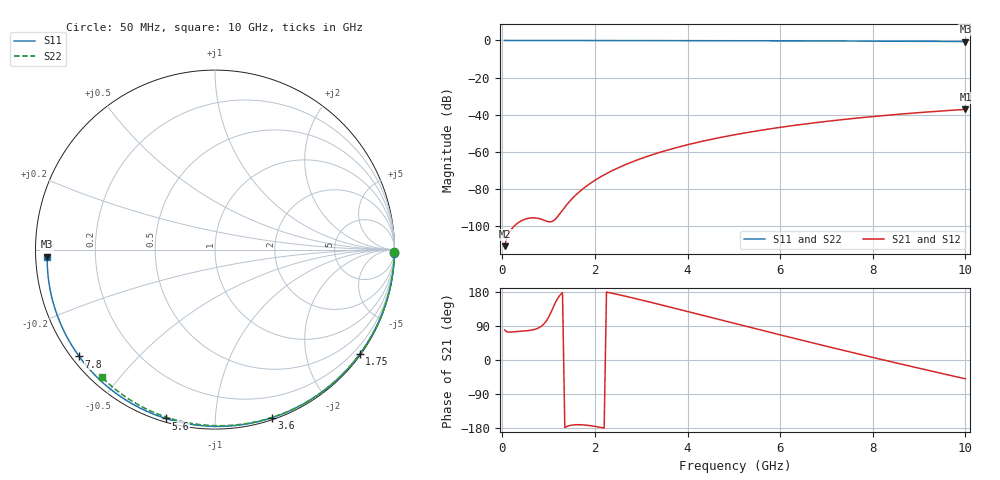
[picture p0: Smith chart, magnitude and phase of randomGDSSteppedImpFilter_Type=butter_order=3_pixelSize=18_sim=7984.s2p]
! freq	dB(S11)	phase(S11)	dB(S12)	phase(S12)
!  dB(S21)	phase(S21)	dB(S22)	phase(S22)
!S-par simulation data
#  GHz  S  DB  R 50
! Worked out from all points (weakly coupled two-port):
!   200 points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, 50 MHz to 10 GHz, reference 50 ohm
!   highest |S21| = -37.18 dB at 10 GHz (marker M1); lowest = -111.0 dB at 50 MHz (marker M2)
!   lowest |S11| = -0.6 dB at 10 GHz (marker M3), VSWR 30.29, Z = 1.65 - j1.05 ohm
!   |S11| at or under -10 dB: nowhere
!   |S22| runs from -0.4 to 0.0 dB; largest |S21 - S12| = 0
!   S11 on the Smith chart (normalised r, x): 50 MHz: open; 1.75 GHz: 0.03, -3.09; 3.6 GHz: 0.02, -1.39; 5.6 GHz: 0.02, -0.75; 7.8 GHz: 0.02, -0.35; 10 GHz: 0.03, -0.02
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0.05  -0.00 -1.0  -110.95 79.2  -110.95 79.2  -0.00 -0.8
0.45  -0.01 -9.4  -96.81 76.4  -96.81 76.4  -0.01 -6.8
0.85  -0.02 -17.6  -96.48 89.7  -96.48 89.7  -0.02 -12.8
1.3  -0.03 -26.8  -91.49 177.7  -91.49 177.7  -0.02 -19.6
1.75  -0.05 -35.8  -79.85 -171.3  -79.85 -171.3  -0.03 -26.2
1.9  -0.05 -38.8  -77.08 -173.3  -77.08 -173.3  -0.04 -28.4
2.05  -0.05 -41.8  -74.65 -176.2  -74.65 -176.2  -0.04 -30.6
2.25  -0.06 -45.7  -71.81 179.2  -71.81 179.2  -0.04 -33.5
2.45  -0.06 -49.6  -69.31 174.1  -69.31 174.1  -0.05 -36.4
2.9  -0.08 -58.3  -64.59 161.4  -64.59 161.4  -0.06 -42.8
3.4  -0.09 -67.6  -60.37 146.4  -60.37 146.4  -0.07 -49.9
3.6  -0.10 -71.3  -58.90 140.3  -58.90 140.3  -0.07 -52.7
4.3  -0.12 -83.9  -54.49 118.6  -54.49 118.6  -0.09 -62.2
5.05  -0.15 -97.0  -50.71 95.4  -50.71 95.4  -0.11 -72.2
5.6  -0.18 -106.2  -48.38 78.5  -48.38 78.5  -0.13 -79.3
6.15  -0.21 -115.3  -46.34 61.8  -46.34 61.8  -0.15 -86.3
6.7  -0.24 -124.2  -44.54 45.2  -44.54 45.2  -0.18 -93.1
7.25  -0.28 -133.1  -42.95 28.8  -42.95 28.8  -0.21 -99.7
7.8  -0.33 -141.8  -41.52 12.7  -41.52 12.7  -0.25 -106.2
8.35  -0.38 -150.6  -40.25 -3.3  -40.25 -3.3  -0.29 -112.6
9.2  -0.47 -164.3  -38.54 -27.4  -38.54 -27.4  -0.36 -122.4
10  -0.57 -177.6  -37.18 -49.6  -37.18 -49.6  -0.45 -131.4
